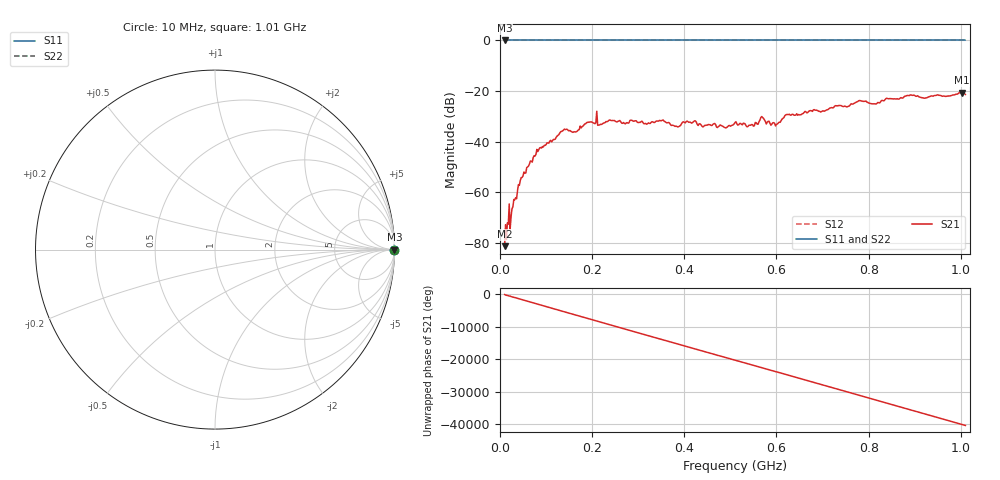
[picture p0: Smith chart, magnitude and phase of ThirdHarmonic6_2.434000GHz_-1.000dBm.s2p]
! 8/17/2025 4:14:22 AM
! C:\ANRITSUVNA\TEMP\TEMP.S2P
! CHANNEL.1
! TR.MEASUREMENT
! RAW.DATA
! RF.CORRECTION.OFF
! AVERAGING.OFF
! IF.BANDWIDTH: 5KHZ
! SWEEPTYPE:  FREQ.SWEEP(Linear)
! Reference Plane Port Info
! PORT:  PORT1  PORT2
! DISTANCE:  0  m  0  m
! TIME:  0  s  0  s
! PHASE.OFFSET:  0  deg.  0  deg.
! LOSS:  0  dB  0  dB
! REF.LOSS:  0  dB  0  dB
! REF.FREQ:  0  Hz  0  Hz
! Power Info
! POWER:  -20  dBm  -20  dBm
! EFF.POWER:  -20  dBm  -20  dBm
! SOURCE.ATTEN:  0  dB  0  dB
! TEST.ATTEN:  0  dB  0  dB
# GHZ S RI R 50.0
! FREQ.GHZ  S11RE  S11IM  S21RE  S21IM  S12RE  S12IM  S22RE  S22IM
!; PortSelection: Port_12
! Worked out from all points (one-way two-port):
!   501 points, 10 MHz to 1.01 GHz, reference 50 ohm
!   highest |S21| = -20.65 dB at 1.002 GHz (marker M1); lowest = -81.4 dB at 10 MHz (marker M2)
!   lowest |S11| = 0.0 dB at 10 MHz (marker M3)
!   |S11| at or under -10 dB: nowhere
!   |S22| runs from 0.0 to 0.0 dB; largest |S21 - S12| = 1.1
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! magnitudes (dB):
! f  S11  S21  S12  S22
! 10 MHz  0.0  -81.4  0.0  0.0
! 16 MHz  0.0  -72.2  0.0  0.0
! 26 MHz  0.0  -66.7  0.0  0.0
! 44 MHz  0.0  -55.4  0.0  0.0
! 84 MHz  0.0  -43.2  0.0  0.0
! 136 MHz  0.0  -35.8  0.0  0.0
! 178 MHz  0.0  -34.1  0.0  0.0
! 206 MHz  0.0  -32.9  0.0  0.0
! 216 MHz  0.0  -33.4  0.0  0.0
! 344 MHz  0.0  -31.9  0.0  0.0
! 384 MHz  0.0  -34.0  0.0  0.0
! 408 MHz  0.0  -32.2  0.0  0.0
! 490 MHz  0.0  -34.6  0.0  0.0
! 510 MHz  0.0  -32.5  0.0  0.0
! 548 MHz  0.0  -33.3  0.0  0.0
! 570 MHz  0.0  -30.5  0.0  0.0
! 600 MHz  0.0  -33.2  0.0  0.0
! 622 MHz  0.0  -29.3  0.0  0.0
! 678 MHz  0.0  -28.1  0.0  0.0
! 844 MHz  0.0  -23.1  0.0  0.0
! 1.002 GHz  0.0  -20.7  0.0  0.0
! 1.01 GHz  0.0  -21.4  0.0  0.0
